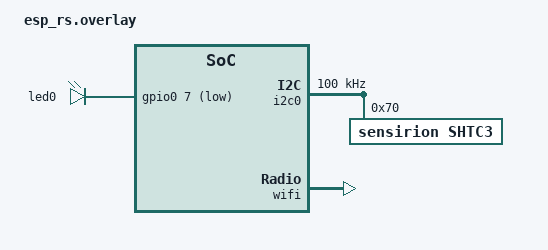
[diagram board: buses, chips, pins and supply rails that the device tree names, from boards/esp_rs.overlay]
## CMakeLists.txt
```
# SPDX-License-Identifier: Apache-2.0

cmake_minimum_required(VERSION 3.20.0)

find_package(Zephyr REQUIRED HINTS $ENV{ZEPHYR_BASE})
project(app)

FILE(GLOB app_sources src/*.c)
target_sources(app PRIVATE ${app_sources})
```

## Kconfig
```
config MQTT_SERVICE_CLIENT_ID
	string "MQTT client ID"
	default "esp32_client"
	help
		MQTT client ID.

config MQTT_SERVICE_SERVER_DOMAIN_NAME
	string "MQTT broker domain name"
	default "localhost"
	help
		MQTT server (broker) domain name.

config MQTT_SERVICE_SERVER_FALLBACK_IP_ADDRESS
	string "MQTT broker fallback IP address"
	default "127.0.0.1"
	help
		MQTT server (broker) IP address which will be used
		as fallback if DNS lookup fails. Take care that correct
		IP protocol address format is used.
		For example, IPv4 address should look like:

		127.0.0.1

config MQTT_SERVICE_SERVER_PORT
	int "MQTT broker port"
	default 1883
	help
		Port on which MQTT broker expects MQTT requests.
		Default port for unencrypted MQTT transport is 1833.
		Default port for encrypted MQTT through TLS transport is 8883.

config MQTT_SERVICE_CONNECTION_TIMEOUT_MS
	int "MQTT connection timeout"
	default 2000
	help
		MQTT service connection timeout in milliseconds.

config MQTT_SERVICE_THREAD_STACK_SIZE
	int "MQTT service thread stack size"
	default 3072
	help
		Stack size used by internal mqtt polling thread.

config MQTT_SERVICE_RX_BUFFER_SIZE
	int "MQTT RX buffer size"
	default 256
	help
		MQTT RX buffer size in bytes.

config MQTT_SERVICE_TX_BUFFER_SIZE
	int "MQTT TX buffer size"
	default 256
	help
		MQTT TX buffer size in bytes.

config MQTT_SERVICE_PAYLOAD_BUFFER_SIZE
	int "MQTT payload buffer size"
	default 1024
	help
		MQTT payload buffer is used for receiving large payload data. This buffer
		is usually used to store data from MQTT_EVT_PUBLISH events.

config WIFI_SSID
	string "Wi-Fi SSID"
	default "esp-workshop"
	help
		MQTT payload buffer is used for receiving large payload data. This buffer
		is usually used to store data from MQTT_EVT_PUBLISH events.

config WIFI_PSK
	string "Wi-Fi PSK"
	default "esp32-c6"
	help
		MQTT payload buffer is used for receiving large payload data. This buffer
		is usually used to store data from MQTT_EVT_PUBLISH events.

config MQTT_DEVICE_NAME
	string "MQTT device name"
	default "esp32"
	help
		MQTT device name.

# Logging subsystem configuration:
module = MQTT_SERVICE
module-str = mqtt_service
source "subsys/logging/Kconfig.template.log_config"

source "Kconfig.zephyr"
```

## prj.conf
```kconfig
CONFIG_NETWORKING=y
CONFIG_TEST_RANDOM_GENERATOR=y

CONFIG_NET_DHCPV4=y

CONFIG_DNS_RESOLVER=y
CONFIG_NET_IPV4=y
CONFIG_NET_IPV6=n

CONFIG_NET_TCP=y
CONFIG_NET_LOG=y
CONFIG_NET_SOCKETS=y
CONFIG_INIT_STACKS=y

CONFIG_POSIX_API=y
CONFIG_LOG=y
CONFIG_LOG_MODE_IMMEDIATE=y

# CONFIG_SHELL=y

CONFIG_NET_STATISTICS=n
CONFIG_NET_STATISTICS_PERIODIC_OUTPUT=n

CONFIG_WIFI=y
CONFIG_WIFI_LOG_LEVEL_ERR=n
CONFIG_NET_L2_WIFI_SHELL=n

CONFIG_ESP32_WIFI_STA_AUTO_DHCPV4=y

CONFIG_NET_L2_ETHERNET=y

CONFIG_HWINFO=y

CONFIG_SYSTEM_WORKQUEUE_STACK_SIZE=4096

# Enable the MQTT Lib
CONFIG_MQTT_LIB=y

CONFIG_NET_MGMT_EVENT_STACK_SIZE=2048
CONFIG_NET_MGMT_EVENT_QUEUE_SIZE=10
CONFIG_NET_TCP_WORKQ_STACK_SIZE=2048

# test.mosquitto.org
CONFIG_MQTT_SERVICE_SERVER_DOMAIN_NAME="test.mosquitto.org"
CONFIG_MQTT_SERVICE_SERVER_FALLBACK_IP_ADDRESS="91.121.93.94"
CONFIG_MQTT_SERVICE_SERVER_PORT=1883

# enable SHT3x over I2C interface
CONFIG_I2C=y
CONFIG_SENSOR=y
CONFIG_CBPRINTF_FP_SUPPORT=y

CONFIG_WIFI_SSID="esp-workshop"
CONFIG_WIFI_PSK="esp32-c6"
CONFIG_MQTT_DEVICE_NAME="esp32"
```

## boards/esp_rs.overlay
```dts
/ {
	aliases {
		led = &led0;
	};

	leds {
		compatible = "gpio-leds";
		led0: red_led {
			gpios = <&gpio0 7 GPIO_ACTIVE_LOW>;
		};
	};
};

&i2c0 {
	status = "okay";
	clock-frequency = <I2C_BITRATE_STANDARD>;
	pinctrl-0 = <&i2c0_default>;
	pinctrl-names = "default";

	shtc3@70 {
		compatible = "sensirion,shtc3", "sensirion,shtcx";
		reg = <0x70>;
		measure-mode = "normal";
		clock-stretching;
	};
};

&wifi {
	status = "okay";
};
```

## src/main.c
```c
#include <zephyr/kernel.h>
#include <zephyr/device.h>
#include <zephyr/logging/log.h>
#include <zephyr/devicetree.h>

#include "mqtt.h"
#include "wifi_service.h"
#include "temperature.h"

LOG_MODULE_REGISTER(app, LOG_LEVEL_INF);

enum {
	WIFI_DISCONNECTED,
	WIFI_CONNECTING,
	WIFI_CONNECTED,
	MQTT_DISCONNECTED,
	MQTT_CONNECTED
};

const char topic_pub[] = "z/workshop/data";
const char topic_sub[] = "z/workshop/cmd";

static uint8_t m_state = WIFI_DISCONNECTED;

void mqtt_response(const char *topic, uint32_t topic_len, const char *msg, uint32_t msg_len)
{
	LOG_INF("topic: %s", topic);
	LOG_INF("msg: %s", msg);
}

int main(void)
{
	char msg[50];

	/* init wifi and mqtt */
	temp_init();
	wifi_init();
	mqtt_init(mqtt_response);

	for (;;) {

		switch (m_state) {
		case WIFI_DISCONNECTED:
			wifi_connect();
			m_state = WIFI_CONNECTING;
			break;

		case WIFI_CONNECTING:
			if (wifi_connected()) {
				m_state = WIFI_CONNECTED;
			} else {
				m_state = WIFI_DISCONNECTED;
			}
			break;

		case WIFI_CONNECTED:
			if (mqtt_connect_broker() == 0) {
				mqtt_subscribe_to(topic_sub, strlen(topic_sub), 0);
				m_state = MQTT_CONNECTED;
			} else {
				m_state = WIFI_CONNECTING;
			}
			break;

		case MQTT_CONNECTED:
			if (!wifi_connected()) {
				mqtt_disconnect_broker();
				m_state = WIFI_DISCONNECTED;
			}

			if (mqtt_connected()) {
				double temp_val;
				temp_read(&temp_val);
				sprintf(msg, "{\"name\":\"%s\",\"temp\":%0.1f}", CONFIG_MQTT_DEVICE_NAME, temp_val);
				LOG_INF("publishing msg: %s", msg);
				mqtt_publish_to(topic_pub, strlen(topic_pub), msg, strlen(msg), 0);
			} else {
				mqtt_disconnect_broker();
				m_state = WIFI_CONNECTING;
			}
			break;

		default:
			break;
		}

		k_msleep(2000);
	}

	return 0;
}
```

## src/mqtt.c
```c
#include <zephyr/kernel.h>
#include <errno.h>

#include "mqtt_service.h"
#include "mqtt.h"

#include <zephyr/logging/log.h>
LOG_MODULE_REGISTER(mqtt, LOG_LEVEL_DBG);

static bool _mqtt_connected = false;

static user_cb callback = NULL;

static void mqtt_service_user_cb(mqtt_service_event_t *evt)
{
	switch (evt->type) {
	case MQTT_SERVICE_EVT_CONNECTED:
		LOG_INF("MQTT Client connected!");
		_mqtt_connected = true;
		break;

	case MQTT_SERVICE_EVT_DISCONNECTED:
		LOG_WRN("MQTT Client disconnected! Reason: %d", evt->data.disc_reason);
		_mqtt_connected = false;
		break;

	case MQTT_SERVICE_EVT_BROKER_ACK:
		LOG_INF("MQTT Broker has acknowledged message, MID = %d", evt->data.ack.message_id);
		break;

	case MQTT_SERVICE_EVT_DATA_RECEIVED:
		// LOG_INF("Received %d bytes from topic: %.*s", evt->data.publish.msg_length,
		// evt->data.publish.topic_name_length, evt->data.publish.p_topic_name);
		// LOG_HEXDUMP_INF(evt->data.publish.p_msg_data, evt->data.publish.msg_length,
		// "Message");
		if (callback != NULL) {
			callback(evt->data.publish.p_topic_name,
				 evt->data.publish.topic_name_length, evt->data.publish.p_msg_data,
				 evt->data.publish.msg_length);
		}
		break;

	default:
		LOG_WRN("Uknown event from MQTT service module");
		break;
	}
}

void mqtt_init(user_cb cb)
{
	int err = 0;

	if (cb != NULL) {
		callback = cb;
	}

	err = mqtt_service_init(mqtt_service_user_cb);
	if (err) {
		LOG_ERR("Failed to initialize MQTT service");
	}
}

bool mqtt_connected(void)
{
	return _mqtt_connected;
}

int32_t mqtt_connect_broker(void)
{
	return mqtt_service_connect();
}

void mqtt_disconnect_broker(void)
{
	mqtt_service_disconnect();
}

int32_t mqtt_publish_to(const uint8_t *topic, uint32_t topic_len, uint8_t *payload,
			uint32_t payload_len, uint8_t qos)
{
	return mqtt_service_publish(topic, topic_len, payload, payload_len, qos);
}

int32_t mqtt_subscribe_to(const uint8_t *topic, uint32_t topic_len, uint8_t qos)
{
	return mqtt_service_subscribe(topic, topic_len, qos);
}

int32_t mqtt_unsubscribe_from(const uint8_t *topic, uint32_t topic_len)
{
	return mqtt_service_unsubscribe(topic, topic_len);
}
```

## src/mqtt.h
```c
#ifndef __MQTT_H__
#define __MQTT_H__

#include <zephyr/kernel.h>

typedef void (*user_cb)(const char *topic, uint32_t topic_len, const char *msg, uint32_t msg_len);

bool mqtt_connected(void);
void mqtt_init(user_cb cb);
int32_t mqtt_publish_to(const uint8_t *topic, uint32_t topic_len, uint8_t *payload,
			uint32_t payload_len, uint8_t qos);
int32_t mqtt_subscribe_to(const uint8_t *topic, uint32_t topic_len, uint8_t qos);
int32_t mqtt_unsubscribe_from(const uint8_t *topic, uint32_t topic_len);
int32_t mqtt_connect_broker(void);
void mqtt_disconnect_broker(void);

#endif
```

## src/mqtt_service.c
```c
#include <zephyr/kernel.h>
#include <zephyr/drivers/hwinfo.h>
#include <zephyr/logging/log.h>
#include <zephyr/net/dns_resolve.h>
#include <zephyr/net/mqtt.h>
#include <zephyr/net/socket.h>
#include <zephyr/random/random.h>
#include <zephyr/sys/util.h>

#include "mqtt_service.h"

LOG_MODULE_REGISTER(mqtt_service, CONFIG_MQTT_SERVICE_LOG_LEVEL);

#define MQTT_SERVICE_KEEP_ALIVE_TIMEOUT 60000

#define MQTT_SERVICE_DNS_TIMEOUT (2 * MSEC_PER_SEC)

#define MQTT_SERVICE_IP_ADDR_STRING_LEN NET_IPV4_ADDR_LEN

#define MQTT_SERVICE_UID_LENGTH (12u)

static int32_t mqtt_service_client_init(struct mqtt_client *client);

static int32_t mqtt_service_client_connect(void);

static void mqtt_service_evt_handler(struct mqtt_client *const client, const struct mqtt_evt *evt);

/* MQTT client struct */
static struct mqtt_client client_ctx;

/* MQTT broker details. */
static struct sockaddr mqtt_broker;

/* MQTT sync connection flags */
static atomic_t disconnect_requested;
static atomic_t connection_poll_active;
static atomic_t broker_disconnected = ATOMIC_INIT(1);

/* RX and TX buffers */
static uint8_t rx_buffer[CONFIG_MQTT_SERVICE_RX_BUFFER_SIZE];
static uint8_t tx_buffer[CONFIG_MQTT_SERVICE_TX_BUFFER_SIZE];

static uint8_t payload[CONFIG_MQTT_SERVICE_PAYLOAD_BUFFER_SIZE];

/* MQTT topic and subscription list */
static struct mqtt_topic subs_topic;
static struct mqtt_subscription_list subs_list;

/* MQTT message ID counter (valid values start from 1) */
static uint16_t message_id = 1u;

/** Semaphore for starting MQTT service connection */
static K_SEM_DEFINE(connection_poll_sem, 0, 1);

/** User callback for reporting events to application layer */
static mqtt_service_evt_cb_t user_cb;

int32_t mqtt_service_init(mqtt_service_evt_cb_t cb)
{
	if (NULL == cb) {
		return -EINVAL;
	}

	user_cb = cb;

	return mqtt_service_client_init(&client_ctx);
}

int32_t mqtt_service_connect(void)
{
	if (atomic_get(&connection_poll_active)) {
		LOG_DBG("Connection poll in progress");
		return -EINPROGRESS;
	}

	atomic_set(&disconnect_requested, 0);
	k_sem_give(&connection_poll_sem);

	return 0;
}

int32_t mqtt_service_disconnect(void)
{
	int32_t err = 0;

	atomic_set(&disconnect_requested, 1);

	err = mqtt_disconnect(&client_ctx);

	return err;
}

int32_t mqtt_service_publish(const uint8_t *p_topic, uint32_t topic_len, uint8_t *p_payload,
			     uint32_t payload_len, uint8_t qos)
{
	if (atomic_get(&broker_disconnected) == 1) {
		LOG_WRN("Not connected. Unable to publish!");
		return -ENETDOWN;
	}

	int32_t ret = 0;
	struct mqtt_publish_param publish_params;

	publish_params.message.topic.qos = qos;
	publish_params.message.topic.topic.utf8 = p_topic;
	publish_params.message.topic.topic.size = topic_len;
	publish_params.message.payload.data = p_payload;
	publish_params.message.payload.len = payload_len;
	publish_params.dup_flag = 0U;
	publish_params.retain_flag = 0U;
	publish_params.message_id = message_id++; // sys_rand32_get(); // Message ID?
	// Value of 0 for message ID is forbidden
	if (0 == message_id) {
		message_id = 1u;
	}

	ret = mqtt_publish(&client_ctx, &publish_params);

	if (ret) {
		// LOG_ERR("Failed to publish to %.*s, err: %d", topic_len, p_topic, ret);
	} else {
		ret = publish_params.message_id;
	}

	return ret;
}

int32_t mqtt_service_subscribe(const uint8_t *p_topic, uint32_t topic_len, uint8_t qos)
{
	int32_t err;

	subs_topic.topic.utf8 = p_topic;
	subs_topic.topic.size = topic_len;
	subs_topic.qos = qos;
	subs_list.list = &subs_topic;
	subs_list.list_count = 1U;
	subs_list.message_id = message_id++;
	// Value of 0 for message ID is forbidden
	if (0 == message_id) {
		message_id = 1u;
	}

	err = mqtt_subscribe(&client_ctx, &subs_list);
	if (err) {
		// LOG_ERR("Failed subscribing to topic %s", p_topic);
	}

	return err;
}

int32_t mqtt_service_unsubscribe(const uint8_t *p_topic, uint32_t topic_len)
{
	int32_t err;

	subs_topic.topic.utf8 = p_topic;
	subs_topic.topic.size = topic_len;
	subs_list.list = &subs_topic;
	subs_list.list_count = 1U;
	subs_list.message_id = message_id++;
	// Value of 0 for message ID is forbidden
	if (0 == message_id) {
		message_id = 1u;
	}

	err = mqtt_unsubscribe(&client_ctx, &subs_list);
	if (err) {
		// LOG_ERR("Failed unsubscribing from topic %s", p_topic);
	}

	return err;
}

//---------------------------- PRIVATE FUNCTIONS ------------------------------

static int broker_init(void)
{
	int err;
	struct zsock_addrinfo *result;
	struct zsock_addrinfo *addr;
	struct zsock_addrinfo hints = {.ai_family = AF_INET, .ai_socktype = SOCK_STREAM};

	LOG_INF("Resolving: %s", CONFIG_MQTT_SERVICE_SERVER_DOMAIN_NAME);

	err = zsock_getaddrinfo(CONFIG_MQTT_SERVICE_SERVER_DOMAIN_NAME, NULL, &hints, &result);
	if (err) {
		// LOG_ERR("getaddrinfo, error %d", err);
		return -ECHILD;
	}

	addr = result;

	/* Look for address of the broker. */
	while (addr != NULL) {
		/* IPv4 Address. */
		if (addr->ai_addrlen == sizeof(struct sockaddr_in)) {
			struct sockaddr_in *broker4 = ((struct sockaddr_in *)&mqtt_broker);
			char ipv4_addr[NET_IPV4_ADDR_LEN];

			broker4->sin_addr.s_addr =
				((struct sockaddr_in *)addr->ai_addr)->sin_addr.s_addr;
			broker4->sin_family = AF_INET;
			broker4->sin_port = htons(CONFIG_MQTT_SERVICE_SERVER_PORT);

			inet_ntop(AF_INET, &broker4->sin_addr.s_addr, ipv4_addr, sizeof(ipv4_addr));
			LOG_INF("IPv4 Address found %s", ipv4_addr);

			break;
		} else {
			LOG_ERR("ai_addrlen = %u should be %u or %u",
				(unsigned int)addr->ai_addrlen,
				(unsigned int)sizeof(struct sockaddr_in),
				(unsigned int)sizeof(struct sockaddr_in6));
		}

		addr = addr->ai_next;
	}

	/* Free the address. */
	zsock_freeaddrinfo(result);
	return err;
}

#if defined(CONFIG_MQTT_LIB_TLS)

#if defined(CONFIG_TLS_CREDENTIAL_FILENAMES)
static const unsigned char ca_certificate[] = "ca.der";
static const unsigned char server_certificate[] = "device.der";
static const unsigned char private_key[] = "device.key";
#else
static const unsigned char ca_certificate[] = {
#include "ca.der.inc"
};
static const unsigned char server_certificate[] = {
#include "device.der.inc"
};
static const unsigned char private_key[] = {
#include "device_key.der.inc"
};
#endif

#define APP_CA_CERT_TAG 1

static sec_tag_t m_sec_tags[] = {
	APP_CA_CERT_TAG,
};

static int tls_init(struct mqtt_client *client)
{
	int err = -EINVAL;

	err = tls_credential_add(APP_CA_CERT_TAG, TLS_CREDENTIAL_CA_CERTIFICATE, ca_certificate,
				 sizeof(ca_certificate));
	if (err != 0) {
		// LOG_ERR("Failed to register ca certificate: %d", err);
		return err;
	}

	err = tls_credential_add(APP_CA_CERT_TAG, TLS_CREDENTIAL_SERVER_CERTIFICATE,
				 server_certificate, sizeof(server_certificate));
	if (err < 0) {
		// LOG_ERR("Failed to register server certificate: %d", err);
	}

	err = tls_credential_add(APP_CA_CERT_TAG, TLS_CREDENTIAL_PRIVATE_KEY, private_key,
				 sizeof(private_key));
	if (err < 0) {
		// LOG_ERR("Failed to register private key: %d", err);
	}

	client->transport.type = MQTT_TRANSPORT_SECURE;

	struct mqtt_sec_config *tls_config = &client->transport.tls.config;

	tls_config->peer_verify = TLS_PEER_VERIFY_NONE;
	tls_config->cipher_list = NULL;
	tls_config->sec_tag_list = m_sec_tags;
	tls_config->sec_tag_count = ARRAY_SIZE(m_sec_tags);
	tls_config->hostname = CONFIG_MQTT_SERVICE_SERVER_DOMAIN_NAME;
	tls_config->cert_nocopy = TLS_CERT_NOCOPY_OPTIONAL;

	return err;
}

#endif // CONFIG_MQTT_LIB_TLS

static int32_t mqtt_service_client_init(struct mqtt_client *client)
{
	// UID length on STM32 MCUs is 12 bytes
	uint8_t client_id[MQTT_SERVICE_UID_LENGTH];
	// 12 UID bytes (represented in hex) * 2 (one byte = 2 hex characters) +
	// string null termination
	static uint8_t client_id_string[(2u * MQTT_SERVICE_UID_LENGTH) + 1u];
	int32_t err = 0;

	// Prepare MQTT client structure for initializing its values
	mqtt_client_init(client);

	/* MQTT client configuration */
	client->broker = &mqtt_broker;
	client->evt_cb = mqtt_service_evt_handler;

	size_t hwinfo_size_read;
	// Get device serial number in binary (byte) representation
	hwinfo_size_read = hwinfo_get_device_id(client_id, sizeof(client_id));

	// LOG_HEXDUMP_INF(client_id, hwinfo_size_read, "Device ID");

	// Convert device serial number from binary (byte) to hex string
	// representation
	(void)bin2hex((const uint8_t *)client_id, sizeof(client_id), client_id_string,
		      sizeof(client_id_string));

	// LOG_INF("Device ID String: %s", client_id_string);

	client->client_id.utf8 = (const uint8_t *)client_id_string;
	client->client_id.size = strlen(client_id_string);
	client->password = NULL;
	client->user_name = NULL;
	client->protocol_version = MQTT_VERSION_3_1_1;

	/* MQTT buffers configuration */
	client->rx_buf = rx_buffer;
	client->rx_buf_size = sizeof(rx_buffer);
	client->tx_buf = tx_buffer;
	client->tx_buf_size = sizeof(tx_buffer);

	/* MQTT transport configuration */
#if defined(CONFIG_MQTT_LIB_TLS)
	tls_init(client);
#else
	client->transport.type = MQTT_TRANSPORT_NON_SECURE;
#endif

	return err;
}

static void mqtt_service_evt_handler(struct mqtt_client *const client, const struct mqtt_evt *evt)
{
	mqtt_service_event_t event;

	switch (evt->type) {
	case MQTT_EVT_CONNACK:
		event.type = MQTT_SERVICE_EVT_CONNECTED;

		if (evt->result != 0) {
			// LOG_ERR("MQTT connect failed %d", evt->result);
			break;
		}

		LOG_DBG("MQTT client connected!");

		user_cb(&event);

		break;

	case MQTT_EVT_DISCONNECT:
		event.type = MQTT_SERVICE_EVT_DISCONNECTED;

		atomic_set(&broker_disconnected, 1);

		LOG_DBG("MQTT client disconnected %d", evt->result);

		event.data.disc_reason = MQTT_SERVICE_DISCONNECT_OTHER;

		if (atomic_get(&disconnect_requested)) {
			LOG_DBG("User triggered disconnect");
			event.data.disc_reason = MQTT_SERVICE_DISCONNECT_USER_REQUEST;
		}

		user_cb(&event);

		break;

	case MQTT_EVT_PUBACK:
		event.type = MQTT_SERVICE_EVT_BROKER_ACK;

		if (evt->result != 0) {
			// LOG_ERR("MQTT PUBACK error %d", evt->result);
			break;
		}

		event.data.ack.message_id = evt->param.puback.message_id;

		LOG_DBG("PUBACK packet id: %u", evt->param.puback.message_id);

		user_cb(&event);

		break;

	case MQTT_EVT_SUBACK:
		LOG_DBG("SUBACK packet");
		break;

	case MQTT_EVT_UNSUBACK:
		LOG_DBG("UNSUBACK packet");
		break;

	case MQTT_EVT_PUBLISH: {
		event.type = MQTT_SERVICE_EVT_DATA_RECEIVED;

		int32_t len;
		int32_t bytes_read;

		len = evt->param.publish.message.payload.len;

		LOG_DBG("MQTT publish received %d, %d bytes", evt->result, len);
		LOG_DBG(" id: %d, qos: %d", evt->param.publish.message_id,
			evt->param.publish.message.topic.qos);

		while (len > 0) {
			bytes_read = mqtt_read_publish_payload(
				&client_ctx, payload,
				len > sizeof(payload) ? sizeof(payload) : len);
			if (bytes_read < 0 && bytes_read != -EAGAIN) {
				// LOG_ERR("Failed to read payload");
				break;
			}

			payload[bytes_read] = '\0';
			LOG_HEXDUMP_DBG(payload, bytes_read, "MQTT message payload:");
			len -= bytes_read;

			event.data.publish.message_id = evt->param.publish.message_id;
			event.data.publish.p_topic_name =
				evt->param.publish.message.topic.topic.utf8;
			event.data.publish.topic_name_length =
				evt->param.publish.message.topic.topic.size;
			event.data.publish.p_msg_data = payload;
			event.data.publish.msg_length = evt->param.publish.message.payload.len;

			user_cb(&event);
		}

		if (evt->param.publish.message.topic.qos == MQTT_QOS_1_AT_LEAST_ONCE) {
			struct mqtt_puback_param puback = {.message_id =
								   evt->param.publish.message_id};

			mqtt_publish_qos1_ack(&client_ctx, &puback);
		} else if (evt->param.publish.message.topic.qos == MQTT_QOS_2_EXACTLY_ONCE) {
			struct mqtt_pubrec_param pubrec = {.message_id =
								   evt->param.publish.message_id};

			mqtt_publish_qos2_receive(&client_ctx, &pubrec);
		}

		break;
	}

	case MQTT_EVT_PUBREC: {
		struct mqtt_pubrel_param pubrel = {.message_id = evt->param.pubrec.message_id};

		mqtt_publish_qos2_release(&client_ctx, &pubrel);

		break;
	}

	case MQTT_EVT_PUBREL: {
		struct mqtt_pubcomp_param pubcomp = {.message_id = evt->param.pubrel.message_id};

		mqtt_publish_qos2_complete(&client_ctx, &pubcomp);
	}

	default:
		break;
	}
}

static int32_t mqtt_service_client_connect(void)
{
	int err;

	broker_init();

	err = mqtt_connect(&client_ctx);
	if (err) {
		// LOG_ERR("mqtt_connect, error: %d", err);
		return err;
	}

	return 0;
}

static void mqtt_service_poll(void)
{
	int err;
	struct zsock_pollfd fds[1];
	mqtt_service_event_t event = {.type = MQTT_SERVICE_EVT_DISCONNECTED};

start:
	k_sem_take(&connection_poll_sem, K_FOREVER);
	atomic_set(&connection_poll_active, 1);

	err = mqtt_service_client_connect();
	if (err) {
		goto reset;
	}

	LOG_DBG("MQTT broker connection request sent");

	fds[0].fd = client_ctx.transport.tcp.sock;
	fds[0].events = ZSOCK_POLLIN;

	atomic_set(&broker_disconnected, 0);

	while (true) {
		err = zsock_poll(fds, ARRAY_SIZE(fds), mqtt_keepalive_time_left(&client_ctx));

		/* If poll returns 0 the timeout has expired. */
		if (err == 0) {
			err = mqtt_ping(&client_ctx);
			if (err) {
				// LOG_ERR("Cloud MQTT keepalive ping failed: %d", err);
				break;
			}
			continue;
		}

		if ((fds[0].revents & ZSOCK_POLLIN) == ZSOCK_POLLIN) {
			err = mqtt_input(&client_ctx);
			if (err) {
				// LOG_ERR("Cloud MQTT input error: %d", err);
				if (err == -ENOTCONN) {
					break;
				}
			}

			if (atomic_get(&broker_disconnected) == 1) {
				LOG_DBG("The cloud socket is already closed.");
				break;
			}

			continue;
		}

		if (err < 0) {
			// LOG_ERR("poll() returned an error: %d", err);
			event.data.disc_reason = MQTT_SERVICE_DISCONNECT_OTHER;
			break;
		}

		if ((fds[0].revents & ZSOCK_POLLNVAL) == ZSOCK_POLLNVAL) {
			LOG_DBG("Socket error: POLLNVAL");
			LOG_DBG("The cloud socket was unexpectedly closed.");
			event.data.disc_reason = MQTT_SERVICE_DISCONNECT_INVALID_REQUEST;
			break;
		}

		if ((fds[0].revents & ZSOCK_POLLHUP) == ZSOCK_POLLHUP) {
			LOG_DBG("Socket error: POLLHUP");
			LOG_DBG("Connection was closed by the cloud.");
			event.data.disc_reason = MQTT_SERVICE_DISCONNECT_CLOSED_BY_REMOTE;
			break;
		}

		if ((fds[0].revents & ZSOCK_POLLERR) == ZSOCK_POLLERR) {
			LOG_DBG("Socket error: POLLERR");
			LOG_DBG("Cloud connection was unexpectedly closed.");
			event.data.disc_reason = MQTT_SERVICE_DISCONNECT_OTHER;
			break;
		}
	}

	/* Upon a socket error, disconnect the client and notify the
	 * application. If the client has already been disconnected this has
	 * occurred via a MQTT DISCONNECT event and the application has
	 * already been notified.
	 */
	if (atomic_get(&broker_disconnected) == 0) {
		user_cb(&event);
		err = mqtt_disconnect(&client_ctx);
		if (err) {
			// LOG_ERR("mqtt_disconnect fail, err: %d", err);
		}
	}

reset:
	atomic_set(&connection_poll_active, 0);
	k_sem_take(&connection_poll_sem, K_NO_WAIT);
	goto start;
}

K_THREAD_DEFINE(mqtt_poll_thread, CONFIG_MQTT_SERVICE_THREAD_STACK_SIZE, mqtt_service_poll, NULL,
		NULL, NULL, K_LOWEST_APPLICATION_THREAD_PRIO, 0, 0);
```

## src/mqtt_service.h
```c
#ifndef __MQTT_SERVICE_H__
#define __MQTT_SERVICE_H__

#ifdef __cplusplus
extern "C" {
#endif

#include <stdint.h>

/**
 * @brief MQTT service module event type
 *
 */
typedef enum _mqtt_service_event_type_t {
	/** MQTT client has successfully connected to MQTT broker.*/
	MQTT_SERVICE_EVT_CONNECTED,

	/** MQTT client has successfully disconnected from MQTT broker.*/
	MQTT_SERVICE_EVT_DISCONNECTED,

	/** MQTT broker has acknowledged message published by client */
	MQTT_SERVICE_EVT_BROKER_ACK,

	/** MQTT client has received data published by the broker */
	MQTT_SERVICE_EVT_DATA_RECEIVED

} mqtt_service_event_type_t;

/**
 * @brief MQTT service disconnect reason type
 *
 */
typedef enum _mqtt_service_disconnect_reason_t {
	/** MQTT client has disconnected due to user request.*/
	MQTT_SERVICE_DISCONNECT_USER_REQUEST,

	/** MQTT broker has disconnected client */
	MQTT_SERVICE_DISCONNECT_CLOSED_BY_REMOTE,

	/** MQTT client has sent invalid request */
	MQTT_SERVICE_DISCONNECT_INVALID_REQUEST,

	/** MQTT client has disconnected unexpectedly. This can be due to network
	 *  losing connection or connection being dropped by network stack
	 */
	MQTT_SERVICE_DISCONNECT_OTHER

} mqtt_service_disconnect_reason_t;

/**
 * @brief MQTT service acknowledgement data
 *
 */
typedef struct _mqtt_service_broker_ack_t {
	/** Message ID of message being acknowledged */
	uint16_t message_id;
} mqtt_service_broker_ack_t;

/**
 * @brief MQTT service publish data
 *
 */
typedef struct _mqtt_service_publish_data_t {
	/** Message ID of incoming message*/
	uint16_t message_id;

	/** Pointer to topic source */
	const uint8_t *p_topic_name;

	/** Length of topic source */
	uint32_t topic_name_length;

	/** Pointer to received message data */
	uint8_t *p_msg_data;

	/** Length of received message */
	uint32_t msg_length;
} mqtt_service_publish_data_t;

/**
 * @brief MQTT service module event structure
 *
 */
typedef struct _mqtt_service_event_t {
	mqtt_service_event_type_t type;

	union {
		/** Indicates whether broker has stored session state for the client.
		 *  Parameter is set on MQTT_SERVICE_EVT_CONNECTED
		 */
		uint8_t session_present;

		/** Indicates MQTT client disconnect reason.
		 *  Parameter is set on MQTT_SERVICE_EVT_DISCONNECTED
		 */
		mqtt_service_disconnect_reason_t disc_reason;

		/** Parameter is set on MQTT_SERVICE_EVT_BROKER_ACK */
		mqtt_service_broker_ack_t ack;

		/** Contains data received from broker
		 *  Parameter is set on MQTT_SERVICE_EVT_DATA_RECEIVED
		 */
		mqtt_service_publish_data_t publish;
	} data;

} mqtt_service_event_t;

/**
 * @brief User provided callback to handle MQTT service module events
 *
 */
typedef void (*mqtt_service_evt_cb_t)(mqtt_service_event_t *evt);

//---------------------- PUBLIC FUNCTION PROTOTYPES --------------------------

//<mqtt_service_init_start>

/**
 * @brief   Initialize MQTT service module
 * @details Configures MQTT client with predefined RX and TX buffers.
 *          Fetches unique hardware ID to configure client ID string.
 *
 * @param cb User callback to receive events from MQTT service module
 * @return  int32_t - 0 if everything executed correctly, otherwise an
 *                  appropriate negative error code.
 */
int32_t mqtt_service_init(mqtt_service_evt_cb_t cb);

//<mqtt_service_init_end>

//<mqtt_service_connection_start>

/**
 * @brief   Connect to MQTT broker
 *
 * @return  int32_t - 0 if everything executed correctly, otherwise an
 *                  appropriate negative error code.
 */
int32_t mqtt_service_connect(void);

/**
 * @brief   Disonnect from MQTT broker
 *
 * @return  int32_t - 0 if everything executed correctly, otherwise an
 *                  appropriate negative error code.
 */
int32_t mqtt_service_disconnect(void);

//<mqtt_service_connection_end>

//<mqtt_service_data_start>

/**
 * @brief       Publishes payload to specified topic.
 * @details     Prepares an outgoing message to MQTT broker.
 *              Topic, payload data and QoS have to be provided.
 *              Generated message ID is returned on success.
 *
 * @param p_topic       pointer to string containing full topic name
 * @param topic_len     length of topic name
 * @param p_payload     pointer to buffer containing payload data
 * @param payload_len   size of payload buffer
 * @param qos           quality of service level
 * @return int32_t -    positive number indicating message ID, otherwise an
 *                      appropriate negative error code.
 */
int32_t mqtt_service_publish(const uint8_t *p_topic, uint32_t topic_len, uint8_t *p_payload,
			     uint32_t payload_len, uint8_t qos);

/**
 * @brief           Subscribes to topic with specified QoS
 *
 * @param p_topic   Pointer to topic name
 * @param topic_len length of topic name
 * @param qos       quality of service level
 * @return int32_t - 0 if everything executed correctly, otherwise an
 *                  appropriate negative error code.
 */
int32_t mqtt_service_subscribe(const uint8_t *p_topic, uint32_t topic_len, uint8_t qos);

/**
 * @brief           Unsubscribes from previously subscribed
 *
 * @param p_topic   Pointer to topic name
 * @param topic_len length of topic name
 * @return int32_t - 0 if everything executed correctly, otherwise an
 *                  appropriate negative error code.
 */
int32_t mqtt_service_unsubscribe(const uint8_t *p_topic, uint32_t topic_len);

//<mqtt_service_data_end>

#ifdef __cplusplus
}
#endif

#endif // __MQTT_SERVICE_H__
```

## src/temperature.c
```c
#include <zephyr/kernel.h>
#include <zephyr/device.h>
#include <zephyr/drivers/sensor.h>
#include <zephyr/logging/log.h>

#include "temperature.h"

LOG_MODULE_REGISTER(temp, LOG_LEVEL_ERR);

const struct device *const sensor = DEVICE_DT_GET(DT_INST(0, sensirion_shtc3));

int temp_init(void)
{
	if (!device_is_ready(sensor)) {
		LOG_ERR("SHTC3 sensor device %s is not ready", sensor->name);
		return -EIO;
	}

	return 0;
}

int temp_read(double *val)
{
	struct sensor_value temp;
	struct sensor_value hum;

	int rc = sensor_sample_fetch(sensor);
	if (rc) {
		LOG_ERR("Error %d: failed to fetch sample", rc);
		return -EIO;
	}

	rc = sensor_channel_get(sensor, SENSOR_CHAN_AMBIENT_TEMP, &temp);
	if (rc) {
		LOG_ERR("Error %d: failed to get temperature", rc);
		return -EIO;
	}

	rc = sensor_channel_get(sensor, SENSOR_CHAN_HUMIDITY, &hum);
	if (rc) {
		LOG_ERR("Error %d: failed to get humidity", rc);
		return -EIO;
	}

	*val = sensor_value_to_double(&temp);

	return 0;
}
```

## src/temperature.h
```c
#ifndef __TEMPERATURE_H__
#define __TEMPERATURE_H__

int temp_init(void);
int temp_read(double *val);

#endif
```

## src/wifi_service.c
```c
#include <zephyr/net/wifi_mgmt.h>
#include <zephyr/net/net_if.h>
#include <zephyr/net/dhcpv4.h>

#include "wifi_service.h"

#include <zephyr/logging/log.h>
LOG_MODULE_REGISTER(wifi_service, CONFIG_LOG_DEFAULT_LEVEL);

static struct wifi_data wifi;

struct wifi_data {
	struct net_mgmt_event_callback wifi_mgmt_cb;
	struct k_sem connect_sem;
	bool status;
};

static void wifi_mgmt_event_handler(struct net_mgmt_event_callback *cb, uint32_t mgmt_event,
				    struct net_if *iface)
{
	struct wifi_data *wifi_cb = CONTAINER_OF(cb, struct wifi_data, wifi_mgmt_cb);
	const struct wifi_status *status = cb->info;

	switch (mgmt_event) {
	case NET_EVENT_WIFI_CONNECT_RESULT:
		if (status->status == 0) {
			wifi_cb->status = true;
		} else {
			wifi_cb->status = false;
		}
		k_sem_give(&wifi_cb->connect_sem);
		break;
	case NET_EVENT_WIFI_DISCONNECT_RESULT:
		wifi_cb->status = false;
		k_sem_give(&wifi_cb->connect_sem);
		break;
	default:
		break;
	}
}

static uint8_t wifi_ssid[] = CONFIG_WIFI_SSID;
static size_t wifi_ssid_len = sizeof(CONFIG_WIFI_SSID) - 1;
static uint8_t wifi_psk[] = CONFIG_WIFI_PSK;
static size_t wifi_psk_len = sizeof(CONFIG_WIFI_PSK) - 1;

void net_connect(struct net_if *iface)
{
	int err;

	struct wifi_connect_req_params params = {
		.ssid = wifi_ssid,
		.ssid_length = wifi_ssid_len,
		.psk = wifi_psk,
		.psk_length = wifi_psk_len,
		.channel = WIFI_CHANNEL_ANY,
		.security = wifi_psk_len > 0 ? WIFI_SECURITY_TYPE_PSK : WIFI_SECURITY_TYPE_NONE,
	};

	while (true) {
		err = net_mgmt(NET_REQUEST_WIFI_CONNECT, iface, &params, sizeof(params));
		if (err == -EALREADY) {
			wifi.status = true;
			break;
		} else if (err) {
			LOG_ERR("Failed to request Wi-Fi connect: %d", err);
			goto retry;
		}

		/* wait for notification from connect request */
		err = k_sem_take(&wifi.connect_sem, K_SECONDS(2));
		if (err) {
			// LOG_ERR("Timeout waiting for Wi-Fi connection");
			goto retry;
		}

		/* verify connect status */
		if (wifi.status == true) {
			LOG_INF("Successfully connected to Wi-Fi");
			break;
		} else {
			goto retry;
		}

	retry:
		k_msleep(1000);
	}
}

static void wait_for_iface_up_poll(struct net_if *iface)
{
	while (!net_if_is_up(iface)) {
		k_sleep(K_MSEC(100));
	}
}

void wifi_init(void)
{
	struct net_if *iface = net_if_get_default();

	k_sem_init(&wifi.connect_sem, 0, 1);

	LOG_INF("Waiting for interface to be up");
	wait_for_iface_up_poll(iface);

	net_mgmt_init_event_callback(
		&wifi.wifi_mgmt_cb, wifi_mgmt_event_handler,
		(NET_EVENT_WIFI_CONNECT_RESULT | NET_EVENT_WIFI_DISCONNECT_RESULT));
	net_mgmt_add_event_callback(&wifi.wifi_mgmt_cb);
}

void wifi_connect(void)
{
	struct net_if *iface = net_if_get_default();

	LOG_INF("Connecting to Wi-Fi");
	net_connect(iface);
}

bool wifi_connected(void)
{
	return wifi.status;
}
```

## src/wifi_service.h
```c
#ifndef __WIFI_SERVICE_H__
#define __WIFI_SERVICE_H__

void wifi_connect(void);
bool wifi_connected(void);
void wifi_init(void);

#endif
```
